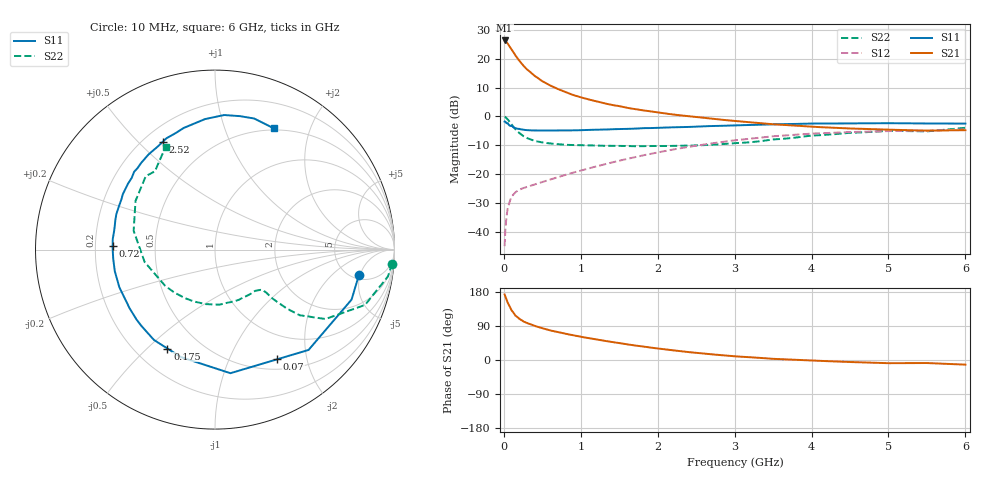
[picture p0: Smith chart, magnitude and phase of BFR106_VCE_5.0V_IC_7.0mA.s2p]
! Infineon Technologies  Discrete & RF Semiconductors
! BFR106
! VCE =  5.0 V,  IC =  7.0 mA
! Common Emitter S-Parameters:  Nov 2015
# GHz  S  MA  R  50
!  f  S11  S21  S12  S22
! GHz  MAG  ANG  MAG  ANG  MAG  ANG  MAG  ANG
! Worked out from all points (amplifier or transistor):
!   210 points, 10 MHz to 6 GHz, reference 50 ohm
!   highest |S21| = 26.4 dB at 10 MHz (marker M1)
!   |S21| within 3 dB of that: start of sweep to 98.29 MHz
!   unconditionally stable (mu >= 1): 558.9 MHz to 1.954 GHz; 5.086 GHz to end of sweep
!   at 185 MHz: K = 0.46, MSG = 22.8 dB, |S12| = -25.7 dB
!   at 1.52 GHz: K = 1.09, MAG = 7.5 dB, |S12| = -15.3 dB
!   at 6 GHz: K = 1.02, MAG = -0.9 dB, |S12| = -4.5 dB
!   S11 on the Smith chart (normalised r, x): 10 MHz: 5.64, -4.78; 70 MHz: 0.63, -1.53; 175 MHz: 0.33, -0.58; 720 MHz: 0.27, +0.02; 2.52 GHz: 0.27, +0.59; 6 GHz: 0.48, +1.48
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0.01  0.8141 -10.1  20.79 173.0  0.0056 85.8  0.9891 -4.5
0.02  0.8103 -20.1  20.59 167.6  0.0109 81.2  0.9753 -8.8
0.05  0.7644 -47.0  18.4 150.6  0.0253 67.7  0.8914 -20.2
0.07  0.7026 -60.4  16.66 143.8  0.0312 60.7  0.8218 -24.4
0.1  0.694 -82.9  14.62 131.0  0.0407 54.1  0.7276 -32.1
0.15  0.6282 -107.6  11.43 117.2  0.0483 46.2  0.5968 -37.8
0.175  0.6116 -115.7  10.33 113.5  0.0508 45.0  0.5565 -38.5
0.2  0.6076 -124.0  9.277 108.9  0.0533 44.0  0.5163 -39.4
0.24  0.5907 -133.9  7.994 103.6  0.0563 43.0  0.4687 -39.9
0.3  0.5774 -145.4  6.548 97.3  0.0597 43.8  0.4211 -40.4
0.4  0.5728 -158.5  5.053 89.9  0.0659 45.6  0.3754 -40.0
0.5  0.5711 -167.8  4.079 83.6  0.0725 48.3  0.352 -40.2
0.6  0.5694 -174.8  3.453 78.2  0.0801 51.4  0.3387 -41.5
0.72  0.5709 177.8  2.922 72.6  0.0897 54.3  0.3281 -43.8
1.02  0.5789 163.5  2.106 60.6  0.1165 59.6  0.3165 -51.3
1.4  0.599 149.1  1.585 47.8  0.158 62.3  0.3096 -64.4
2.02  0.6355 129.8  1.161 29.9  0.2395 60.0  0.3059 -91.5
2.52  0.6677 115.8  0.966 18.6  0.3132 54.3  0.3143 -117.6
3.1  0.704 102.3  0.812 8.6  0.397 44.9  0.3479 -149.6
4.1  0.7517 84.8  0.652 -2.3  0.5087 26.4  0.4717 163.0
5.1  0.76 72.3  0.584 -8.3  0.5576 10.3  0.5594 132.2
6  0.7497 64.2  0.577 -12.2  0.5967 -1.0  0.6348 115.7
